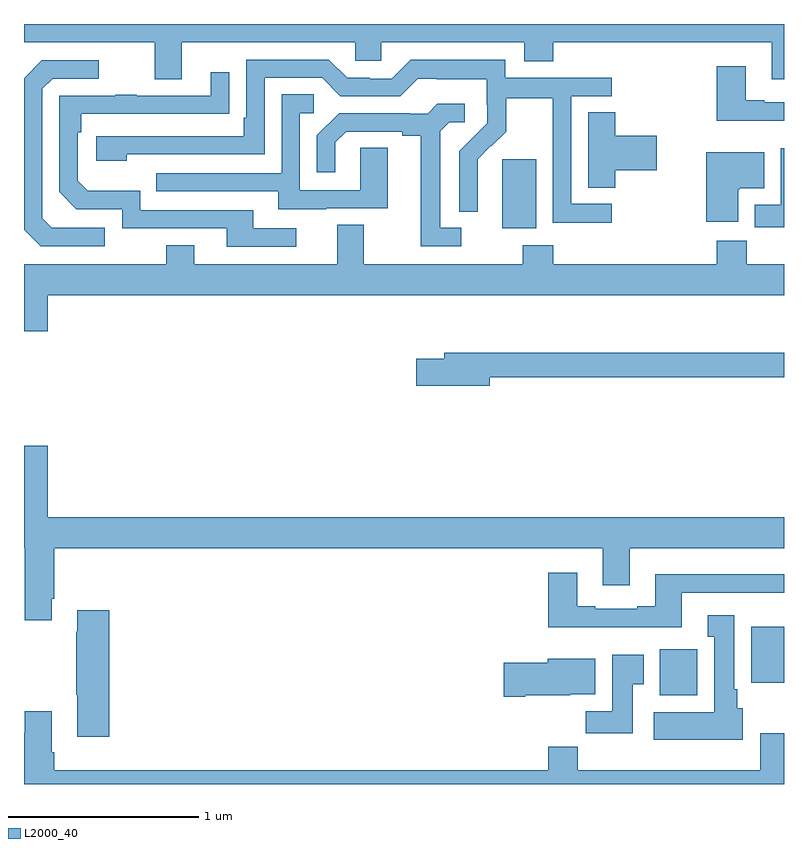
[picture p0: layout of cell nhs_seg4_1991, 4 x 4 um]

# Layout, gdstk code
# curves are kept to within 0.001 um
import gdstk
lib = gdstk.Library(unit=1e-6, precision=1e-09)
def R(c, l, rs):  # rectangles x0, y0, x1, y1
    for r in rs: c.add(gdstk.rectangle(r[:2], r[2:], *l))
def P(c, l, *ps):  # polygons
    for p in ps: c.add(gdstk.Polygon(p, *l))
L2000_40 = (2000, 40)

nhs_seg4_1991 = lib.new_cell('nhs_seg4_1991')
R(nhs_seg4_1991, L2000_40, [(216.347,809.366,216.544,809.608), (216.827,809.432,217,809.728), (215.516,811.826,215.695,812.187)])
P(nhs_seg4_1991, L2000_40, [(213.829,812.804),(214.743,812.804),(214.743,812.706),(214.881,812.706),(214.881,812.804),(215.633,812.804),(215.633,812.705),(215.786,812.705),(215.786,812.804),(216.935,812.804),(216.935,812.61),(217,812.61),(217,812.9),(213,812.9),(213,812.804),(213.689,812.804),(213.689,812.61),(213.829,812.61)],
  [(216.094,811.953),(215.88,811.953),(215.88,812.52),(216.094,812.52),(216.094,812.616),(215.532,812.616),(215.532,812.713),(215.035,812.713),(214.935,812.613),(214.82,812.613),(214.82,812.616),(214.701,812.616),(214.605,812.712),(214.17,812.712),(214.17,812.407),(214.157,812.407),(214.157,812.31),(213.381,812.31),(213.381,812.18),(213.542,812.18),(213.542,812.214),(214.266,812.214),(214.266,812.616),(214.569,812.616),(214.665,812.52),(214.98,812.52),(215.073,812.613),(215.173,812.613),(215.173,812.609),(215.436,812.609),(215.436,812.475),(215.438,812.475),(215.438,812.378),(215.292,812.23),(215.292,811.912),(215.388,811.912),(215.387,812.189),(215.457,812.259),(215.46,812.256),(215.537,812.333),(215.537,812.508),(215.782,812.508),(215.782,812.284),(215.784,812.284),(215.784,811.855),(216.094,811.855)],
  [(213.424,811.827),(213.147,811.827),(213.096,811.878),(213.096,812.559),(213.15,812.613),(213.394,812.613),(213.394,812.709),(213.093,812.709),(213,812.615),(213,811.818),(213.087,811.731),(213.424,811.731)],
  [(217,812.487),(216.895,812.487),(216.895,812.5),(216.799,812.5),(216.799,812.677),(216.647,812.677),(216.647,812.39),(217,812.39)],
  [(214.432,811.824),(214.207,811.824),(214.207,811.92),(213.612,811.92),(213.612,812.023),(213.335,812.023),(213.282,812.076),(213.282,812.33),(213.302,812.33),(213.302,812.427),(214.079,812.428),(214.079,812.647),(213.983,812.647),(213.983,812.523),(213.593,812.523),(213.593,812.528),(213.481,812.528),(213.481,812.523),(213.186,812.523),(213.186,812.016),(213.276,811.926),(213.516,811.926),(213.516,811.824),(214.067,811.824),(214.067,811.728),(214.432,811.728)],
  [(214.591,811.929),(214.915,811.929),(214.915,812.249),(214.77,812.249),(214.77,812.025),(214.452,812.025),(214.452,812.43),(214.525,812.43),(214.525,812.531),(214.356,812.531),(214.356,812.115),(213.697,812.115),(213.697,812.019),(214.337,812.019),(214.337,811.925),(214.591,811.925)],
  [(215.302,811.827),(215.191,811.827),(215.191,812.335),(215.238,812.382),(215.32,812.382),(215.32,812.479),(215.176,812.479),(215.124,812.427),(215.03,812.427),(215.03,812.43),(214.658,812.43),(214.542,812.314),(214.542,812.121),(214.639,812.121),(214.639,812.277),(214.696,812.334),(214.991,812.334),(214.991,812.312),(215.087,812.312),(215.087,811.731),(215.302,811.731)],
  [(216.113,812.129),(216.331,812.129),(216.331,812.312),(216.113,812.312),(216.113,812.435),(215.969,812.435),(215.969,812.038),(216.113,812.038)],
  [(217,812.245),(216.983,812.245),(216.983,811.948),(216.845,811.948),(216.845,811.83),(217,811.83)],
  [(216.76,812.03),(216.766,812.03),(216.766,812.036),(216.895,812.036),(216.895,812.224),(216.59,812.224),(216.59,811.86),(216.76,811.86)],
  [(217,811.636),(216.803,811.636),(216.803,811.76),(216.647,811.76),(216.647,811.636),(215.786,811.636),(215.786,811.735),(215.626,811.735),(215.626,811.636),(214.789,811.636),(214.789,811.844),(214.649,811.844),(214.649,811.636),(213.895,811.636),(213.895,811.735),(213.748,811.735),(213.748,811.636),(213,811.636),(213,811.284),(213.124,811.284),(213.124,811.472),(217,811.472)],
  [(215.452,811.042),(217,811.042),(217,811.171),(215.213,811.171),(215.213,811.137),(215.064,811.137),(215.064,810.995),(215.452,810.995)],
  [(213.145,809.875),(213.158,809.875),(213.158,810.14),(216.047,810.14),(216.047,809.946),(216.187,809.946),(216.187,810.14),(217,810.14),(217,810.304),(213.124,810.304),(213.124,810.679),(213,810.679),(213,810.14),(213.005,810.14),(213.005,809.763),(213.145,809.763)],
  [(216.463,809.907),(217,809.907),(217,810.004),(216.323,810.004),(216.323,809.836),(216.227,809.836),(216.227,809.823),(216.007,809.823),(216.007,809.836),(215.911,809.836),(215.911,810.013),(215.759,810.013),(215.759,809.726),(216.463,809.726)],
  [(213.449,809.815),(213.281,809.815),(213.281,809.702),(213.274,809.702),(213.274,809.371),(213.281,809.371),(213.281,809.148),(213.449,809.148)],
  [(216.784,809.298),(216.754,809.298),(216.754,809.398),(216.739,809.398),(216.739,809.788),(216.599,809.788),(216.599,809.675),(216.632,809.675),(216.632,809.278),(216.315,809.278),(216.315,809.132),(216.784,809.132)],
  [(216.205,809.425),(216.262,809.425),(216.262,809.581),(216.095,809.581),(216.095,809.284),(215.956,809.284),(215.956,809.166),(216.205,809.166)],
  [(215.638,809.366),(215.874,809.366),(215.874,809.372),(216.007,809.372),(216.007,809.56),(215.756,809.56),(215.756,809.537),(215.526,809.537),(215.526,809.359),(215.638,809.359)],
  [(217,809.167),(216.875,809.167),(216.875,808.972),(215.915,808.972),(215.915,809.096),(215.759,809.096),(215.759,808.972),(213.158,808.972),(213.158,809.068),(213.145,809.068),(213.145,809.284),(213.005,809.284),(213.005,809.171),(213,809.171),(213,808.9),(217,808.9)])

lib.write_gds('nhs_seg4_1991.gds')
